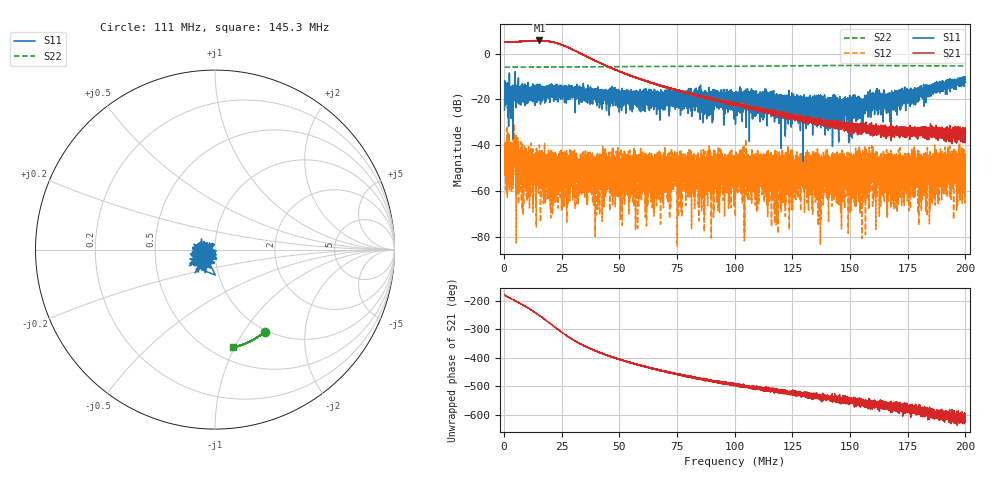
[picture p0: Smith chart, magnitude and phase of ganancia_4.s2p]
# Hz S DB R 50
! CMT, M5065, 19127446, 24.2.4/2
! Date: 11/8/2024 3:46:34 PM
! Data: Format (Calibration Info)
! Freq	S11:dB/Ang(F2)	S21:dB/Ang(F2)	S12:dB/Ang(F2)	S22:dB/Ang(F2)
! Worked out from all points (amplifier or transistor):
!   9000 points, 300 kHz to 200 MHz, reference 50 ohm
!   highest |S21| = 5.8 dB at 15.39 MHz (marker M1)
!   |S21| within 3 dB of that: start of sweep to 27.62 MHz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
!   unconditionally stable (mu >= 1): start of sweep to end of sweep
!   at 33.59 MHz: K = 87.94, MAG = 1.4 dB, |S12| = -47.8 dB
!   at 100.2 MHz: K = 1282.67, MAG = -21.2 dB, |S12| = -48.5 dB
!   at 200 MHz: K = 1948.79, MAG = -30.7 dB, |S12| = -42.9 dB
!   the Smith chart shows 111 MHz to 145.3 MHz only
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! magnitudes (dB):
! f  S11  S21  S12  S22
! 300 kHz  -24.6  5.1  -39.4  -5.9
! 1.365 MHz  -20.6  5.1  -43.1  -5.8
! 4.317 MHz  -19.4  5.2  -39.9  -5.9
! 8.422 MHz  -17.6  5.5  -42.2  -5.9
! 15.39 MHz  -15.8  5.8  -39.9  -5.8
! 33.59 MHz  -15.4  -0.1  -47.8  -5.7
! 43.17 MHz  -16.9  -4.6  -57.5  -5.7
! 44.82 MHz  -19.2  -5.5  -55.9  -5.7
! 55.11 MHz  -18.9  -9.8  -47.8  -5.6
! 66.87 MHz  -18.4  -13.5  -48.3  -5.5
! 71.96 MHz  -19.2  -15.2  -53.9  -5.5
! 74.04 MHz  -19.1  -15.7  -47.3  -5.5
! 83.65 MHz  -22.3  -18.1  -47.2  -5.5
! 88.42 MHz  -17.3  -19.0  -52.3  -5.5
! 100.2 MHz  -20.0  -22.7  -48.5  -5.4
! 133.4 MHz  -28.4  -29.7  -51.9  -5.2
! 154.9 MHz  -21.1  -33.6  -46.4  -5.1
! 157.1 MHz  -22.7  -32.8  -64.0  -5.1
! 166.7 MHz  -18.1  -35.8  -50.1  -5.2
! 196.8 MHz  -10.6  -35.6  -49.0  -5.3
! 199 MHz  -10.1  -35.4  -50.9  -5.3
! 200 MHz  -12.6  -32.4  -42.9  -5.3
